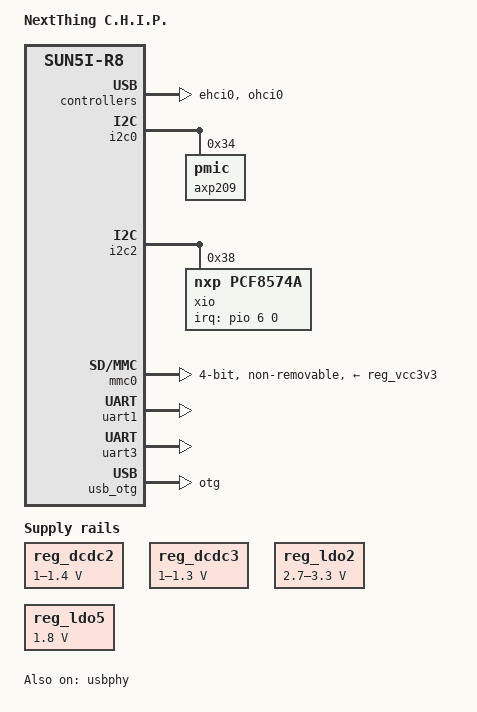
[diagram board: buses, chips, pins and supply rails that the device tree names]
/*
 * Copyright 2015 Free Electrons
 * Copyright 2015 NextThing Co
 *
 * Maxime Ripard <maxime.ripard@free-electrons.com>
 *
 * This file is dual-licensed: you can use it either under the terms
 * of the GPL or the X11 license, at your option. Note that this dual
 * licensing only applies to this file, and not this project as a
 * whole.
 *
 *  a) This file is free software; you can redistribute it and/or
 *     modify it under the terms of the GNU General Public License as
 *     published by the Free Software Foundation; either version 2 of the
 *     License, or (at your option) any later version.
 *
 *     This file is distributed in the hope that it will be useful,
 *     but WITHOUT ANY WARRANTY; without even the implied warranty of
 *     MERCHANTABILITY or FITNESS FOR A PARTICULAR PURPOSE.  See the
 *     GNU General Public License for more details.
 *
 * Or, alternatively,
 *
 *  b) Permission is hereby granted, free of charge, to any person
 *     obtaining a copy of this software and associated documentation
 *     files (the "Software"), to deal in the Software without
 *     restriction, including without limitation the rights to use,
 *     copy, modify, merge, publish, distribute, sublicense, and/or
 *     sell copies of the Software, and to permit persons to whom the
 *     Software is furnished to do so, subject to the following
 *     conditions:
 *
 *     The above copyright notice and this permission notice shall be
 *     included in all copies or substantial portions of the Software.
 *
 *     THE SOFTWARE IS PROVIDED "AS IS", WITHOUT WARRANTY OF ANY KIND,
 *     EXPRESS OR IMPLIED, INCLUDING BUT NOT LIMITED TO THE WARRANTIES
 *     OF MERCHANTABILITY, FITNESS FOR A PARTICULAR PURPOSE AND
 *     NONINFRINGEMENT. IN NO EVENT SHALL THE AUTHORS OR COPYRIGHT
 *     HOLDERS BE LIABLE FOR ANY CLAIM, DAMAGES OR OTHER LIABILITY,
 *     WHETHER IN AN ACTION OF CONTRACT, TORT OR OTHERWISE, ARISING
 *     FROM, OUT OF OR IN CONNECTION WITH THE SOFTWARE OR THE USE OR
 *     OTHER DEALINGS IN THE SOFTWARE.
 */

/dts-v1/;
#include "sun5i-r8.dtsi"
#include "sunxi-common-regulators.dtsi"

#include <dt-bindings/gpio/gpio.h>
#include <dt-bindings/interrupt-controller/irq.h>

/ {
	model = "NextThing C.H.I.P.";
	compatible = "nextthing,chip", "allwinner,sun5i-r8";

	aliases {
		i2c0 = &i2c0;
		i2c2 = &i2c2;
		serial0 = &uart1;
		serial1 = &uart3;
	};

	chosen {
		stdout-path = "serial0:115200n8";
	};
};

&ehci0 {
	status = "okay";
};

&i2c0 {
	pinctrl-names = "default";
	pinctrl-0 = <&i2c0_pins_a>;
	status = "okay";

	axp209: pmic@34 {
		reg = <0x34>;

		/*
		 * The interrupt is routed through the "External Fast
		 * Interrupt Request" pin (ball G13 of the module)
		 * directly to the main interrupt controller, without
		 * any other controller interfering.
		 */
		interrupts = <0>;
	};
};

#include "axp209.dtsi"

&i2c2 {
	pinctrl-names = "default";
	pinctrl-0 = <&i2c2_pins_a>;
	status = "okay";

	xio: gpio@38 {
		compatible = "nxp,pcf8574a";
		reg = <0x38>;

		gpio-controller;
		#gpio-cells = <2>;

		interrupt-parent = <&pio>;
		interrupts = <6 0 IRQ_TYPE_EDGE_FALLING>;
		interrupt-controller;
		#interrupt-cells = <2>;
	};
};

&mmc0 {
	pinctrl-names = "default";
	pinctrl-0 = <&mmc0_pins_a>;
	vmmc-supply = <&reg_vcc3v3>;
	bus-width = <4>;
	non-removable;
	status = "okay";
};

&ohci0 {
	status = "okay";
};

&otg_sram {
	status = "okay";
};

&pio {
	chip_vbus_pin: chip_vbus_pin@0 {
		allwinner,pins = "PB10";
		allwinner,function = "gpio_out";
		allwinner,drive = <SUN4I_PINCTRL_10_MA>;
		allwinner,pull = <SUN4I_PINCTRL_NO_PULL>;
	};

	chip_id_det_pin: chip_id_det_pin@0 {
		allwinner,pins = "PG2";
		allwinner,function = "gpio_in";
		allwinner,drive = <SUN4I_PINCTRL_10_MA>;
		allwinner,pull = <SUN4I_PINCTRL_NO_PULL>;
	};
};

&reg_dcdc2 {
	regulator-min-microvolt = <1000000>;
	regulator-max-microvolt = <1400000>;
	regulator-name = "cpuvdd";
	regulator-always-on;
};

&reg_dcdc3 {
	regulator-min-microvolt = <1000000>;
	regulator-max-microvolt = <1300000>;
	regulator-name = "corevdd";
	regulator-always-on;
};

&reg_ldo1 {
	regulator-name = "rtcvdd";
};

&reg_ldo2 {
	regulator-min-microvolt = <2700000>;
	regulator-max-microvolt = <3300000>;
	regulator-name = "avcc";
	regulator-always-on;
};

&reg_ldo5 {
	regulator-min-microvolt = <1800000>;
	regulator-max-microvolt = <1800000>;
	regulator-name = "vcc-1v8";
};

&reg_usb0_vbus {
	pinctrl-0 = <&chip_vbus_pin>;
	vin-supply = <&reg_vcc5v0>;
	gpio = <&pio 1 10 GPIO_ACTIVE_HIGH>; /* PB10 */
	status = "okay";
};

&uart1 {
	pinctrl-names = "default";
	pinctrl-0 = <&uart1_pins_b>;
	status = "okay";
};

&uart3 {
	pinctrl-names = "default";
	pinctrl-0 = <&uart3_pins_a>,
		    <&uart3_pins_cts_rts_a>;
	status = "okay";
};

&usb_otg {
	dr_mode = "otg";
	status = "okay";
};

&usb_power_supply {
	status = "okay";
};

&usbphy {
	pinctrl-names = "default";
	pinctrl-0 = <&chip_id_det_pin>;
	status = "okay";

	usb0_id_det-gpio = <&pio 6 2 GPIO_ACTIVE_HIGH>; /* PG2 */
	usb0_vbus_power-supply = <&usb_power_supply>;
	usb0_vbus-supply = <&reg_usb0_vbus>;
	usb1_vbus-supply = <&reg_vcc5v0>;
};
